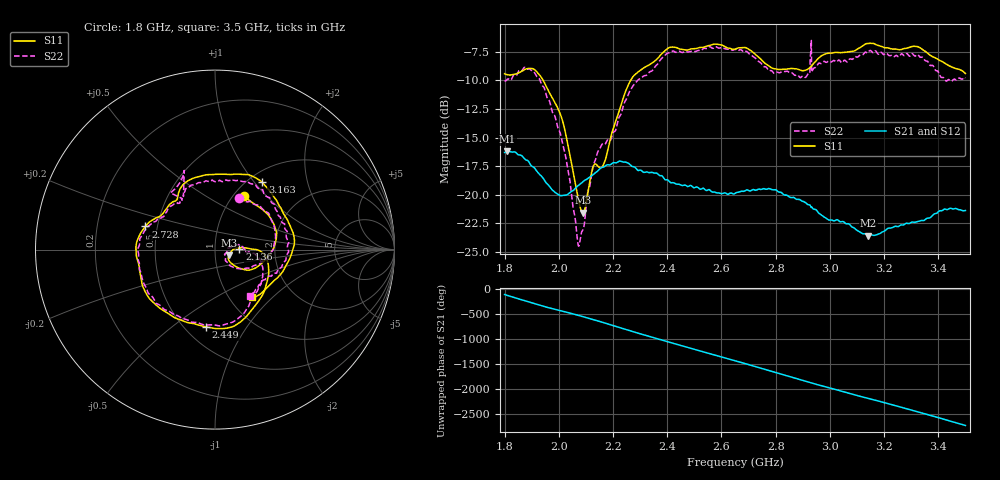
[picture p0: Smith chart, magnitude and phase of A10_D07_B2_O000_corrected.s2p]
! Created with skrf 1.9.0 (http://scikit-rf.org).
# Hz S RI R 50.0
!freq ReS11 ImS11 ReS21 ImS21 ReS12 ImS12 ReS22 ImS22
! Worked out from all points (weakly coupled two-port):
!   1601 points, 1.8 GHz to 3.5 GHz, reference 50 ohm
!   highest |S21| = -16.21 dB at 1.811 GHz (marker M1); lowest = -23.6 dB at 3.142 GHz (marker M2)
!   lowest |S11| = -21.6 dB at 2.089 GHz (marker M3), VSWR 1.18, Z = 58.3 - j3.6 ohm
!   |S11| at or under -10 dB: 1.943 GHz to 2.265 GHz (322.4 MHz wide, 15.3 % of centre)
!   |S22| runs from -24.5 to -6.5 dB; largest |S21 - S12| = 0.003
!   S11 on the Smith chart (normalised r, x): 1.8 GHz: 1.13, +0.75; 2.136 GHz: 1.32, +0.01; 2.449 GHz: 0.63, -0.67; 2.728 GHz: 0.43, +0.13; 3.163 GHz: 1.16, +1.10; 3.5 GHz: 1.27, -0.77
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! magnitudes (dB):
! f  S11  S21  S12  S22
! 1.8 GHz  -9.4  -16.3  -16.3  -10.0
! 1.811 GHz  -9.5  -16.2  -16.2  -9.9
! 1.88 GHz  -9.0  -17.0  -17.0  -9.0
! 1.942 GHz  -10.0  -18.6  -18.6  -10.5
! 2.013 GHz  -13.4  -20.1  -20.1  -15.4
! 2.069 GHz  -20.0  -19.2  -19.3  -24.0
! 2.084 GHz  -21.4  -19.0  -18.9  -23.3
! 2.089 GHz  -21.6  -18.9  -18.9  -23.1
! 2.136 GHz  -17.3  -18.1  -18.1  -16.9
! 2.167 GHz  -17.3  -17.6  -17.6  -15.6
! 2.266 GHz  -9.9  -17.4  -17.4  -10.8
! 2.367 GHz  -8.0  -18.2  -18.2  -8.5
! 2.449 GHz  -7.3  -19.1  -19.1  -7.5
! 2.65 GHz  -7.3  -19.9  -19.9  -7.3
! 2.728 GHz  -7.8  -19.6  -19.6  -8.1
! 2.892 GHz  -9.1  -20.5  -20.5  -9.8
! 2.934 GHz  -8.7  -21.1  -21.1  -9.2
! 3.142 GHz  -6.8  -23.6  -23.5  -7.5
! 3.163 GHz  -6.8  -23.6  -23.5  -7.5
! 3.217 GHz  -7.2  -22.9  -22.9  -7.8
! 3.325 GHz  -7.1  -22.3  -22.3  -7.7
! 3.5 GHz  -9.4  -21.4  -21.4  -9.8
